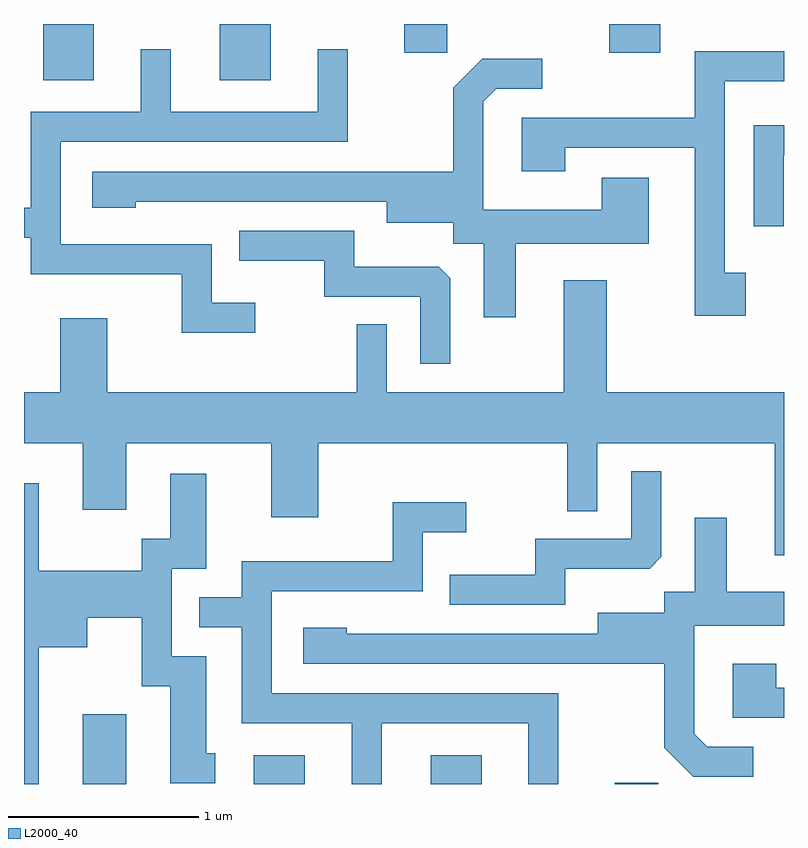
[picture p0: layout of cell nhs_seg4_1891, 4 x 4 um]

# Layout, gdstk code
import gdstk
lib = gdstk.Library(unit=1e-6, precision=1e-09)
def R(c, l, rs):  # rectangles x0, y0, x1, y1
    for r in rs: c.add(gdstk.rectangle(r[:2], r[2:], *l))
def P(c, l, *ps):  # polygons
    for p in ps: c.add(gdstk.Polygon(p, *l))
L2000_40 = (2000, 40)

nhs_seg4_1891 = lib.new_cell('nhs_seg4_1891')
R(nhs_seg4_1891, L2000_40, [(239.921,1363.982,240.149,1364.349), (240.821,1363.982,241.089,1364.134), (241.751,1363.982,242.019,1364.134), (242.721,1363.982,242.949,1363.989), (239.711,1367.686,239.979,1367.982), (240.641,1367.686,240.909,1367.982), (241.611,1367.831,241.839,1367.982), (242.691,1367.831,242.959,1367.982)])
P(nhs_seg4_1891, L2000_40, [(240.828,1366.514),(240.599,1366.514),(240.599,1366.824),(239.804,1366.824),(239.804,1367.361),(241.314,1367.361),(241.314,1367.848),(241.156,1367.848),(241.156,1367.519),(240.384,1367.519),(240.384,1367.848),(240.226,1367.848),(240.226,1367.519),(239.646,1367.519),(239.646,1367.014),(239.611,1367.014),(239.611,1366.856),(239.646,1366.856),(239.646,1366.666),(240.441,1366.666),(240.441,1366.356),(240.828,1366.356)],
  [(243.409,1366.674),(243.299,1366.674),(243.299,1367.681),(243.611,1367.681),(243.611,1367.839),(243.141,1367.839),(243.141,1367.489),(242.231,1367.489),(242.231,1367.206),(242.459,1367.206),(242.459,1367.331),(243.141,1367.331),(243.141,1366.446),(243.409,1366.446)],
  [(242.199,1366.826),(242.899,1366.826),(242.899,1367.174),(242.651,1367.174),(242.651,1367.004),(242.029,1367.004),(242.029,1367.574),(242.097,1367.641),(242.338,1367.641),(242.338,1367.799),(242.024,1367.799),(241.871,1367.647),(241.871,1367.204),(239.971,1367.204),(239.971,1367.016),(240.199,1367.016),(240.199,1367.046),(241.521,1367.046),(241.521,1366.936),(241.871,1366.936),(241.871,1366.826),(242.031,1366.826),(242.031,1366.438),(242.199,1366.438)],
  [(243.609,1367.291),(243.611,1367.291),(243.611,1367.449),(243.451,1367.449),(243.451,1366.918),(243.609,1366.918)],
  [(241.854,1366.644),(241.794,1366.704),(241.349,1366.704),(241.349,1366.894),(240.743,1366.894),(240.743,1366.736),(241.191,1366.736),(241.191,1366.546),(241.696,1366.546),(241.696,1366.193),(241.854,1366.193)],
  [(242.471,1365.418),(242.629,1365.418),(242.629,1365.776),(243.561,1365.776),(243.561,1365.186),(243.611,1365.186),(243.611,1366.044),(242.679,1366.044),(242.679,1366.634),(242.451,1366.634),(242.451,1366.044),(241.519,1366.044),(241.519,1366.403),(241.361,1366.403),(241.361,1366.044),(240.049,1366.044),(240.049,1366.434),(239.801,1366.434),(239.801,1366.044),(239.611,1366.044),(239.611,1365.776),(239.921,1365.776),(239.921,1365.426),(240.149,1365.426),(240.149,1365.776),(240.911,1365.776),(240.911,1365.386),(241.159,1365.386),(241.159,1365.776),(242.471,1365.776)],
  [(242.459,1365.116),(242.904,1365.116),(242.964,1365.177),(242.964,1365.628),(242.806,1365.628),(242.806,1365.274),(242.301,1365.274),(242.301,1365.084),(241.853,1365.084),(241.853,1364.926),(242.459,1364.926)],
  [(239.689,1364.701),(239.944,1364.701),(239.944,1364.856),(240.231,1364.856),(240.231,1364.496),(240.381,1364.496),(240.381,1363.986),(240.618,1363.986),(240.618,1364.144),(240.569,1364.144),(240.569,1364.654),(240.389,1364.654),(240.389,1365.116),(240.569,1365.116),(240.569,1365.614),(240.381,1365.614),(240.381,1365.274),(240.231,1365.274),(240.231,1365.104),(239.689,1365.104),(239.689,1365.564),(239.611,1365.564),(239.611,1363.982),(239.689,1363.982)],
  [(241.494,1364.301),(242.266,1364.301),(242.266,1363.982),(242.424,1363.982),(242.424,1364.459),(240.914,1364.459),(240.914,1364.996),(241.709,1364.996),(241.709,1365.306),(241.938,1365.306),(241.938,1365.464),(241.551,1365.464),(241.551,1365.154),(240.756,1365.154),(240.756,1364.964),(240.533,1364.964),(240.533,1364.806),(240.756,1364.806),(240.756,1364.301),(241.336,1364.301),(241.336,1363.982),(241.494,1363.982)],
  [(243.448,1364.179),(243.207,1364.179),(243.139,1364.247),(243.139,1364.816),(243.611,1364.816),(243.611,1364.994),(243.309,1364.994),(243.309,1365.383),(243.141,1365.383),(243.141,1364.994),(242.981,1364.994),(242.981,1364.884),(242.631,1364.884),(242.631,1364.774),(241.309,1364.774),(241.309,1364.804),(241.081,1364.804),(241.081,1364.616),(242.981,1364.616),(242.981,1364.174),(243.134,1364.021),(243.448,1364.021)],
  [(243.611,1364.489),(243.569,1364.489),(243.569,1364.614),(243.341,1364.614),(243.341,1364.331),(243.611,1364.331)])

lib.write_gds('nhs_seg4_1891.gds')
